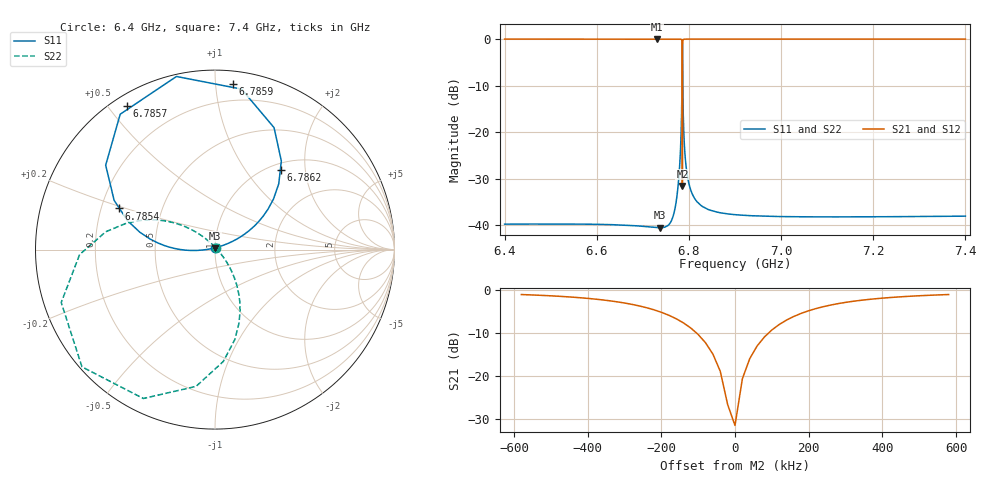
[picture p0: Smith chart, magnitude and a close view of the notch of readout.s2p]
! Sonnet Data File
! From: em Version : 14.52
! From Project: readout
! Data is De-embedded
! Data File Written: 06/16/2017 18:49:02
!< HDATE 05/30/2017 22:45:08
!< MDATE 06/05/2017 21:30:40
# GHZ S MA R 50.00000
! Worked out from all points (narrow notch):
!   9831 points, 6.4 GHz to 7.4 GHz, reference 50 ohm
!   highest |S21| = 0.00 dB at 6.731 GHz (marker M1); lowest = -31.5 dB at 6.7858 GHz (marker M2)
!   notch at M2: 31.5 dB deep, 96.7 kHz wide at half that depth
!   lowest |S11| = -40.5 dB at 6.7367 GHz (marker M3), VSWR 1.02, Z = 49.8 + j0.919 ohm
!   |S11| at or under -10 dB: start of sweep to 6.7849 GHz; 6.7867 GHz to end of sweep
!   |S22| runs from -40.5 to -0.1 dB; largest |S21 - S12| = 0
!   S11 on the Smith chart (normalised r, x): 6.4 GHz: 1.00, +0.02; 6.7854 GHz: 0.27, +0.19; 6.7857 GHz: 0.04, +0.56; 6.7859 GHz: 0.08, +1.11; 6.7862 GHz: 1.11, +1.49; 7.4 GHz: 1.01, +0.02
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6.4  0.01031 76.0  0.9999 -15.4  0.9999 -15.4  0.01031 73.2
!< P1 F=6.4 Eeff=(5.67079515 -5.6695e-6) Z0=(51.4985264 -2.5749e-5) R=0.0 C=0.0029802
!< P2 F=6.4 Eeff=(5.67079515 -5.6695e-6) Z0=(51.4985264 -2.5749e-5) R=0.0 C=0.0029802
6.5668  0.01031 78.2  0.9999 -15.8  0.9999 -15.8  0.01031 70.1
6.73104  0.00948 99.1  1 -16.5  1 -16.5  0.00948 48.0
6.73334  0.009466 100.5  1 -16.5  1 -16.5  0.009466 46.6
6.73666  0.009454 102.6  1 -16.5  1 -16.5  0.009454 44.3
6.76006  0.01075 131.8  0.9999 -16.9  0.9999 -16.9  0.01075 14.5
6.77302  0.01894 162.9  0.9998 -17.6  0.9998 -17.6  0.01893 -18.0
6.78162  0.06331 -178.4  0.9979 -20.2  0.9979 -20.2  0.0633 -42.2
6.78454  0.2179 178.7  0.9754 -29.2  0.9754 -29.2  0.2178 -57.5
6.7854  0.5845 156.9  0.8064 -52.4  0.8064 -52.4  0.5843 -82.7
6.7857  0.9411 121.5  0.3057 -86.8  0.3057 -86.8  0.9409 -119.2
6.7858  0.9882 102.5  0.02649 45.9  0.02649 45.9  0.9879 -138.6
6.7859  0.928 83.9  0.3447 51.4  0.3447 51.4  0.9278 -157.6
6.7862  0.5779 50.4  0.8114 18.6  0.8114 18.6  0.5778 167.8
6.78706  0.2269 29.5  0.9733 -3.5  0.9733 -3.5  0.2268 143.7
6.7886  0.1082 25.2  0.994 -10.5  0.994 -10.5  0.1082 134.0
6.79116  0.0603 26.4  0.9981 -13.2  0.9981 -13.2  0.06029 127.2
6.80454  0.02348 39.1  0.9997 -15.5  0.9997 -15.5  0.02348 110.0
6.9  0.01303 62.0  0.9999 -16.4  0.9999 -16.4  0.01303 85.2
7.07  0.01235 66.8  0.9999 -16.9  0.9999 -16.9  0.01235 79.3
7.235  0.01239 67.8  0.9999 -17.3  0.9999 -17.3  0.01239 77.5
7.4  0.01256 68.1  0.9999 -17.8  0.9999 -17.8  0.01256 76.4
